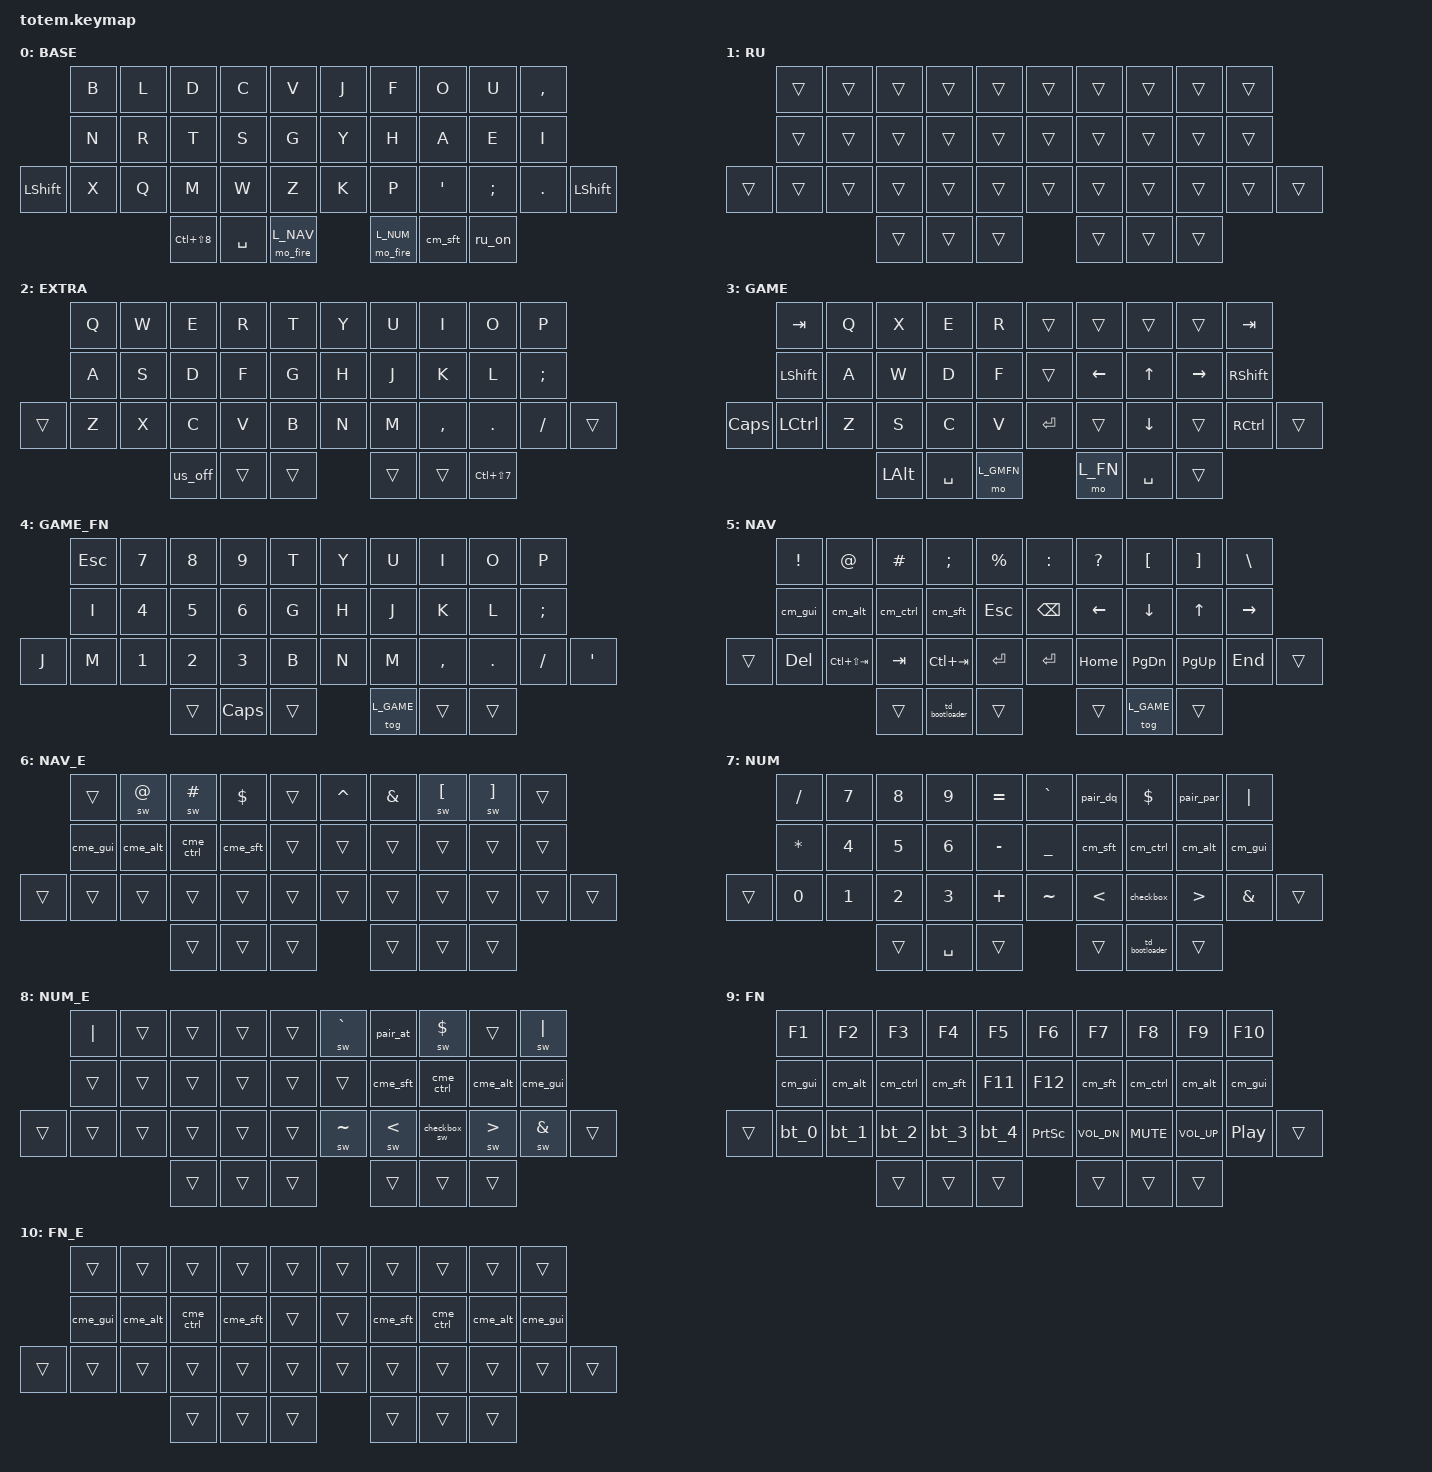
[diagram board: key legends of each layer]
//
//                                                        ▀▀▀▀▀     ▀▀▀▀▀          ▀▀█▀▀
//                                                        ▄▀▀▀▄  ▄  ▄▀▀▀▄  ▄  ▄▀▀▀▄  █  ▄▀▀▀▄
//                                                        █   █  █  █   █  █  █   █  █  █   █
//                                                         ▀▀▀   █   ▀▀▀   █   ▀▀▀   ▀   ▀▀▀
//                                                               █      ▄▄▄█▄▄▄    █   █  
//                                                               ▀      █  █  █     █▄█
//                                                             ▀▀▀▀▀    █  █  █      ▀
//                                                                      ▀  ▀  ▀
//
// ▄▄▄▄▄▄▄▄▄▄▄▄▄▄▄▄▄▄▄▄▄▄▄▄▄▄▄▄▄▄▄▄▄▄▄▄▄▄▄▄▄▄▄▄▄▄▄▄▄▄▄▄▄▄▄▄▄▄▄▄▄▄▄▄▄▄▄▄▄▄▄▄▄▄▄▄▄▄▄▄▄▄▄▄▄▄▄▄▄▄▄▄▄▄▄▄▄▄▄▄▄▄▄▄▄▄▄▄▄▄▄▄▄▄▄▄▄▄▄▄▄▄▄▄▄▄▄▄▄▄▄▄▄▄▄▄▄▄▄▄▄▄▄▄▄▄▄▄▄

#include <behaviors.dtsi>
#include <dt-bindings/zmk/bt.h>
#include <dt-bindings/zmk/keys.h>

// Layer indices (order matters: *_E layers must sit above their base layers)

#define L_BASE 0
#define L_RU 1      // marker: "RU mode is on" (all &trans); *_E layers hang off it
#define L_EXTRA 2   // RU letters (QWERTY positions)
#define L_GAME 3
#define L_GMFN 4
#define L_NAV 5
#define L_NAV_E 6
#define L_NUM 7
#define L_NUM_E 8
#define L_FN 9
#define L_FN_E 10

// Sticky mods (wellum-style, see cm_* / cme_* below) stay pressed "forever"
// (~50 days) until: the next key, a second tap of the same mod, or any &mo_fire.
#define MAX_TIMER 4294967295

/ {
    combos {
        compatible = "zmk,combos";

        // ---- BASE only ----

        base_us {
            timeout-ms = <40>;
            require-prior-idle-ms = <150>;
            key-positions = <1 3>;
            layers = <L_BASE>;
            bindings = <&kp LC(LS(N8))>;
        };

        base_ru {
            timeout-ms = <40>;
            require-prior-idle-ms = <150>;
            key-positions = <6 8>;
            layers = <L_BASE>;
            bindings = <&ru_on>;
        };

        // ---- EXTRA only ----

        extra_us {
            timeout-ms = <40>;
            require-prior-idle-ms = <150>;
            key-positions = <1 3>;
            layers = <L_EXTRA>;
            bindings = <&us_off>;
        };

        extra_ru {
            timeout-ms = <40>;
            require-prior-idle-ms = <150>;
            key-positions = <6 8>;
            layers = <L_EXTRA>;
            bindings = <&kp LC(LS(N7))>;
        };

        extra_lbkt {
            timeout-ms = <40>;
            require-prior-idle-ms = <150>;
            key-positions = <6 7>;
            layers = <L_EXTRA>;
            bindings = <&kp LBKT>;
        };

        extra_sqt {
            timeout-ms = <40>;
            require-prior-idle-ms = <150>;
            key-positions = <7 8>;
            layers = <L_EXTRA>;
            bindings = <&kp SQT>;
        };

        extra_rbkt {
            timeout-ms = <40>;
            require-prior-idle-ms = <150>;
            key-positions = <27 28>;
            layers = <L_EXTRA>;
            bindings = <&kp RBKT>;
        };

        extra_grave {
            timeout-ms = <40>;
            require-prior-idle-ms = <150>;
            key-positions = <28 29>;
            layers = <L_EXTRA>;
            bindings = <&kp GRAVE>;
        };
    };

    macros {
        bt_clear_2: bt_clear_2 {
            compatible = "zmk,behavior-macro";
            #binding-cells = <0>;
            bindings = <&bt BT_SEL 2 &bt BT_CLR>;
            label = "BT_CLEAR_2";
        };

        bt_clear_3: bt_clear_3 {
            compatible = "zmk,behavior-macro";
            #binding-cells = <0>;
            bindings = <&bt BT_SEL 3 &bt BT_CLR>;
            label = "BT_CLEAR_3";
        };

        bt_clear_4: bt_clear_4 {
            compatible = "zmk,behavior-macro";
            #binding-cells = <0>;
            bindings = <&bt BT_SEL 4 &bt BT_CLR>;
            label = "BT_CLEAR_4";
        };

        bt_clear_0: bt_clear_0 {
            compatible = "zmk,behavior-macro";
            #binding-cells = <0>;
            bindings = <&bt BT_SEL 0 &bt BT_CLR>;
            label = "BT_CLEAR_0";
        };

        bt_clear_1: bt_clear_1 {
            compatible = "zmk,behavior-macro";
            #binding-cells = <0>;
            bindings = <&bt BT_SEL 1 &bt BT_CLR>;
            label = "BT_CLEAR_1";
        };

        // ---------------------------------------------------------------------
        // Layout switching (OS hotkeys: ctrl+shift+8 = US, ctrl+shift+7 = RU)
        // ---------------------------------------------------------------------
        // ru_on: switch OS to RU and enable EXTRA (used on BASE)

        ru_on: ru_on {
            compatible = "zmk,behavior-macro";
            #binding-cells = <0>;
            display-name = "RU_ON";
            wait-ms = <30>;
            tap-ms = <20>;
            bindings = <&macro_tap>, <&kp LC(LS(N7)) &lock_on L_RU &lock_on L_EXTRA>;
        };

        // us_off: switch OS to US and disable EXTRA (used on EXTRA)

        us_off: us_off {
            compatible = "zmk,behavior-macro";
            #binding-cells = <0>;
            display-name = "US_OFF";
            wait-ms = <30>;
            tap-ms = <20>;
            bindings = <&macro_tap>, <&kp LC(LS(N8)) &lock_off L_EXTRA &lock_off L_RU>;
        };

        // sw: "switch to US, type one symbol, switch back to RU" (the sw# / sw@ / ... keys)

        sw: sw {
            compatible = "zmk,behavior-macro-one-param";
            #binding-cells = <1>;
            display-name = "SW";
            wait-ms = <40>;   // give the OS time to switch the layout
            tap-ms = <20>;
            bindings =
                <&macro_tap>,
                <&kp LC(LS(N8))>,
                <&macro_param_1to1>,
                <&kp MACRO_PLACEHOLDER &kp LC(LS(N7))>;
        };

        // ---------------------------------------------------------------------
        // Pairs: type both symbols, then arrow left
        // ---------------------------------------------------------------------

        pair_par: pair_par {
            compatible = "zmk,behavior-macro";
            #binding-cells = <0>;
            display-name = "PAIR_PAR";
            bindings = <&macro_tap>, <&kp LPAR &kp RPAR &kp LEFT>;
        };

        pair_dq: pair_dq {
            compatible = "zmk,behavior-macro";
            #binding-cells = <0>;
            display-name = "PAIR_DQ";
            bindings = <&macro_tap>, <&kp DQT &kp DQT &kp LEFT>;
        };

        // "@@": in the RU layout shift+2 types a double quote, so this makes ""

        pair_at: pair_at {
            compatible = "zmk,behavior-macro";
            #binding-cells = <0>;
            display-name = "PAIR_AT";
            bindings = <&macro_tap>, <&kp AT &kp AT &kp LEFT>;
        };

        // ---------------------------------------------------------------------
        // Markdown checkbox: home, -, space, [, space, ], space, end
        // ---------------------------------------------------------------------

        checkbox: checkbox {
            compatible = "zmk,behavior-macro";
            #binding-cells = <0>;
            display-name = "CHECKBOX";
            bindings =
                <&macro_tap>,
                <&kp HOME &kp MINUS &kp SPACE &kp LBKT &kp SPACE &kp RBKT &kp SPACE &kp END>;
        };

        // "sw" flavour for the EXTRA (RU) layers: [ and ] need the US layout

        checkbox_sw: checkbox_sw {
            compatible = "zmk,behavior-macro";
            #binding-cells = <0>;
            display-name = "CHECKBOX_SW";
            wait-ms = <40>;
            tap-ms = <20>;
            bindings =
                <&macro_tap>,
                <&kp LC(LS(N8)) &kp HOME &kp MINUS &kp SPACE &kp LBKT &kp SPACE &kp RBKT &kp SPACE &kp END &kp LC(LS(N7))>;
        };

        // ---------------------------------------------------------------------
        // Sticky mods, taken from wellum (firmware/zmk/wellum34)
        // ---------------------------------------------------------------------

        // release the key twice (it is pressed twice, see below)
        m_release_key_twice: m_release_key_twice {
            compatible = "zmk,behavior-macro-one-param";
            #binding-cells = <1>;
            display-name = "REL_TWICE";
            wait-ms = <0>;
            tap-ms = <0>;
            bindings =
                <&macro_release>,
                <&macro_param_1to1>,
                <&kp MACRO_PLACEHOLDER>,
                <&macro_param_1to1>,
                <&kp MACRO_PLACEHOLDER>;
        };

        // inner binding of sticky_forever: press twice, release twice when the sticky fires
        m_press_key_twice: m_press_key_twice {
            compatible = "zmk,behavior-macro-one-param";
            #binding-cells = <1>;
            display-name = "PRESS_TWICE";
            wait-ms = <0>;
            tap-ms = <0>;
            bindings =
                <&macro_press>,
                <&macro_param_1to1>,
                <&kp MACRO_PLACEHOLDER>,
                <&macro_param_1to1>,
                <&kp MACRO_PLACEHOLDER>,
                <&macro_pause_for_release>,
                <&macro_tap>,
                <&macro_param_1to1>,
                <&m_release_key_twice MACRO_PLACEHOLDER>;
        };

        // ---------------------------------------------------------------------
        // *_e flavour: same, but while the mod is pending the RU letters layer
        // (EXTRA) is switched off, so the next key is read from BASE (shortcuts sit
        // on the same keys in EN and RU). EXTRA returns when the sticky fires
        // (next key / second tap / mo_fire) or is cancelled.
        // ---------------------------------------------------------------------

        m_press_key_twice_e: m_press_key_twice_e {
            compatible = "zmk,behavior-macro-one-param";
            #binding-cells = <1>;
            display-name = "PRESS_TWICE_E";
            wait-ms = <0>;
            tap-ms = <0>;
            bindings =
                <&macro_press>,
                <&macro_param_1to1>,
                <&kp MACRO_PLACEHOLDER>,
                <&macro_param_1to1>,
                <&kp MACRO_PLACEHOLDER>,
                <&macro_tap>,
                <&lock_off L_EXTRA>,
                <&macro_pause_for_release>,
                <&macro_tap>,
                <&macro_param_1to1>,
                <&m_release_key_twice MACRO_PLACEHOLDER>,
                <&macro_tap>,
                <&lock_on L_EXTRA>;
        };

        // second tap of a pending *_e mod: release it and bring EXTRA back
        m_cancel_e: m_cancel_e {
            compatible = "zmk,behavior-macro-one-param";
            #binding-cells = <1>;
            display-name = "CANCEL_E";
            wait-ms = <0>;
            tap-ms = <0>;
            bindings =
                <&macro_tap>,
                <&macro_param_1to1>,
                <&m_release_key_twice MACRO_PLACEHOLDER>,
                <&macro_tap>,
                <&lock_on L_EXTRA>;
        };

        // ---------------------------------------------------------------------
        // Layer key for the BASE thumbs (wellum "la"): on press it fires all pending
        // sticky mods with a dummy keycode (a lone mod gets tapped, *_e mods give
        // EXTRA back), then holds the layer. Unlike wellum it does NOT force-release
        // mods on layer release, so a mod set on NAV/NUM can still hit a key on BASE.
        // ---------------------------------------------------------------------

        mo_fire: mo_fire {
            compatible = "zmk,behavior-macro-one-param";
            #binding-cells = <1>;
            display-name = "MO_FIRE";
            wait-ms = <0>;
            tap-ms = <0>;
            bindings =
                <&macro_tap>,
                <&kp 0>,
                <&macro_press>,
                <&macro_param_1to1>,
                <&mo MACRO_PLACEHOLDER>,
                <&macro_pause_for_release>,
                <&macro_release>,
                <&macro_param_1to1>,
                <&mo MACRO_PLACEHOLDER>;
        };
    };

    behaviors {
        td_bootloader: td_bootloader {
            compatible = "zmk,behavior-tap-dance";
            label = "TD_BOOTLOADER";
            #binding-cells = <0>;
            bindings = <&none>, <&bootloader>;
        };

        bt_0: bt_0 {
            compatible = "zmk,behavior-mod-morph";
            label = "BT_0";
            bindings = <&bt BT_SEL 0>, <&bt_clear_0>;

            #binding-cells = <0>;
            mods = <(MOD_LSFT)>;
        };

        bt_1: bt_1 {
            compatible = "zmk,behavior-mod-morph";
            label = "BT_1";
            bindings = <&bt BT_SEL 1>, <&bt_clear_1>;

            #binding-cells = <0>;
            mods = <(MOD_LSFT)>;
        };

        bt_2: bt_2 {
            compatible = "zmk,behavior-mod-morph";
            label = "BT_2";
            bindings = <&bt BT_SEL 2>, <&bt_clear_2>;

            #binding-cells = <0>;
            mods = <(MOD_LSFT)>;
        };

        bt_3: bt_3 {
            compatible = "zmk,behavior-mod-morph";
            label = "BT_3";
            bindings = <&bt BT_SEL 3>, <&bt_clear_3>;

            #binding-cells = <0>;
            mods = <(MOD_LSFT)>;
        };

        bt_4: bt_4 {
            compatible = "zmk,behavior-mod-morph";
            label = "BT_4";
            bindings = <&bt BT_SEL 4>, <&bt_clear_4>;

            #binding-cells = <0>;
            mods = <(MOD_LSFT)>;
        };

        // Locking layer on/off. &tog is "locking" in ZMK, so a normal (non-locking)
        // layer_off cannot switch off a layer that was enabled with &tog.

        lock_on: lock_on {
            compatible = "zmk,behavior-toggle-layer";
            #binding-cells = <1>;
            display-name = "LOCK_ON";
            toggle-mode = "on";
            locking;
        };

        lock_off: lock_off {
            compatible = "zmk,behavior-toggle-layer";
            #binding-cells = <1>;
            display-name = "LOCK_OFF";
            toggle-mode = "off";
            locking;
        };

        // ---------------------------------------------------------------------
        // Sticky mods (wellum): sticky_forever + mod-morph "second tap releases"
        // ---------------------------------------------------------------------

        sticky_forever: sticky_forever {
            compatible = "zmk,behavior-sticky-key";
            #binding-cells = <1>;
            display-name = "STICKY_FOREVER";
            bindings = <&m_press_key_twice>;
            release-after-ms = <MAX_TIMER>;
            ignore-modifiers;
        };

        sticky_forever_e: sticky_forever_e {
            compatible = "zmk,behavior-sticky-key";
            #binding-cells = <1>;
            display-name = "STICKY_FOREVER_E";
            bindings = <&m_press_key_twice_e>;
            release-after-ms = <MAX_TIMER>;
            ignore-modifiers;
        };

        cm_gui: cm_gui {
            compatible = "zmk,behavior-mod-morph";
            #binding-cells = <0>;
            display-name = "CM_GUI";
            bindings = <&sticky_forever LGUI>, <&m_release_key_twice LGUI>;
            mods = <(MOD_LGUI)>;
            keep-mods = <(MOD_LGUI)>;
        };

        cme_gui: cme_gui {
            compatible = "zmk,behavior-mod-morph";
            #binding-cells = <0>;
            display-name = "CME_GUI";
            bindings = <&sticky_forever_e LGUI>, <&m_cancel_e LGUI>;
            mods = <(MOD_LGUI)>;
            keep-mods = <(MOD_LGUI)>;
        };

        cm_alt: cm_alt {
            compatible = "zmk,behavior-mod-morph";
            #binding-cells = <0>;
            display-name = "CM_ALT";
            bindings = <&sticky_forever LALT>, <&m_release_key_twice LALT>;
            mods = <(MOD_LALT)>;
            keep-mods = <(MOD_LALT)>;
        };

        cme_alt: cme_alt {
            compatible = "zmk,behavior-mod-morph";
            #binding-cells = <0>;
            display-name = "CME_ALT";
            bindings = <&sticky_forever_e LALT>, <&m_cancel_e LALT>;
            mods = <(MOD_LALT)>;
            keep-mods = <(MOD_LALT)>;
        };

        cm_ctrl: cm_ctrl {
            compatible = "zmk,behavior-mod-morph";
            #binding-cells = <0>;
            display-name = "CM_CTRL";
            bindings = <&sticky_forever LCTRL>, <&m_release_key_twice LCTRL>;
            mods = <(MOD_LCTL)>;
            keep-mods = <(MOD_LCTL)>;
        };

        cme_ctrl: cme_ctrl {
            compatible = "zmk,behavior-mod-morph";
            #binding-cells = <0>;
            display-name = "CME_CTRL";
            bindings = <&sticky_forever_e LCTRL>, <&m_cancel_e LCTRL>;
            mods = <(MOD_LCTL)>;
            keep-mods = <(MOD_LCTL)>;
        };

        cm_sft: cm_sft {
            compatible = "zmk,behavior-mod-morph";
            #binding-cells = <0>;
            display-name = "CM_SFT";
            bindings = <&sticky_forever LSHIFT>, <&m_release_key_twice LSHIFT>;
            mods = <(MOD_LSFT)>;
            keep-mods = <(MOD_LSFT)>;
        };

        cme_sft: cme_sft {
            compatible = "zmk,behavior-mod-morph";
            #binding-cells = <0>;
            display-name = "CME_SFT";
            bindings = <&sticky_forever_e LSHIFT>, <&m_cancel_e LSHIFT>;
            mods = <(MOD_LSFT)>;
            keep-mods = <(MOD_LSFT)>;
        };
    };

    keymap {
        compatible = "zmk,keymap";

        // Gallium-like letters. Extra keys (outer shifts, ESC, DEL) keep their previous values.

        base_layer {
            label = "BASE";
            bindings = <
           &kp B  &kp L  &kp D           &kp C      &kp V        &kp J      &kp F      &kp O    &kp U     &kp COMMA
           &kp N  &kp R  &kp T           &kp S      &kp G        &kp Y      &kp H      &kp A    &kp E     &kp I
&kp LSHFT  &kp X  &kp Q  &kp M           &kp W      &kp Z        &kp K      &kp P      &kp SQT  &kp SEMI  &kp DOT    &kp LSHFT
                         &kp LC(LS(N8))  &kp SPACE  &mo_fire L_NAV    &mo_fire L_NUM  &cm_sft  &ru_on
            >;
        };

        // Marker: "RU mode is on". The *_E layers hang off this layer (not off EXTRA),
        // so they stay active while EXTRA's letters are suspended by a pending cme_* mod.
        ru_layer {
            label = "RU";
            bindings = <
                &trans &trans &trans &trans &trans  &trans &trans &trans &trans &trans
                &trans &trans &trans &trans &trans  &trans &trans &trans &trans &trans
                &trans &trans &trans &trans &trans &trans  &trans &trans &trans &trans &trans &trans
                              &trans &trans &trans  &trans &trans &trans
            >;
        };

        // QWERTY positions for the RU OS layout. Toggled by combos. Blanks fall through to BASE.

        extra_layer {
            label = "EXTRA";
            bindings = <
        &kp Q  &kp W  &kp E    &kp R   &kp T     &kp Y   &kp U   &kp I           &kp O    &kp P
        &kp A  &kp S  &kp D    &kp F   &kp G     &kp H   &kp J   &kp K           &kp L    &kp SEMI
&trans  &kp Z  &kp X  &kp C    &kp V   &kp B     &kp N   &kp M   &kp COMMA       &kp DOT  &kp FSLH  &trans
                      &us_off  &trans  &trans    &trans  &trans  &kp LC(LS(N7))
            >;
        };

        // Plain-hold mods (&kp, not sticky) on purpose. Enter: nav -> game*. Exit: gmfn -> base*.

        game_layer {
            label = "GAME";
            bindings = <
          &kp TAB    &kp Q  &kp X     &kp E      &kp R         &trans    &trans     &trans    &trans     &kp TAB
          &kp LSHFT  &kp A  &kp W     &kp D      &kp F         &trans    &kp LEFT   &kp UP    &kp RIGHT  &kp RSHFT
&kp CAPS  &kp LCTRL  &kp Z  &kp S     &kp C      &kp V         &kp RET   &trans     &kp DOWN  &trans     &kp RCTRL  &trans
                            &kp LALT  &kp SPACE  &mo L_GMFN    &mo L_FN  &kp SPACE  &trans
            >;
        };

        // Held from the GAME layer (left inner thumb).

        game_fn_layer {
            label = "GAME_FN";
            bindings = <
       &kp ESC  &kp N7  &kp N8  &kp N9    &kp T     &kp Y   &kp U   &kp I      &kp O    &kp P
       &kp I    &kp N4  &kp N5  &kp N6    &kp G     &kp H   &kp J   &kp K      &kp L    &kp SEMI
&kp J  &kp M    &kp N1  &kp N2  &kp N3    &kp B     &kp N   &kp M   &kp COMMA  &kp DOT  &kp FSLH  &kp SQT
                        &trans  &kp CAPS  &trans    &tog L_GAME  &trans  &trans
            >;
        };

        // Left inner thumb. Mods are cm_* (wellum-style sticky).

        nav_layer {
            label = "NAV";
            bindings = <
        &kp EXCL  &kp AT           &kp HASH   &kp SEMI        &kp PRCNT    &kp COLON  &kp QMARK    &kp LBKT   &kp RBKT   &kp BSLH
        &cm_gui  &cm_alt         &cm_ctrl  &cm_sft       &kp ESC      &kp BSPC   &kp LEFT     &kp DOWN   &kp UP     &kp RIGHT
&trans  &kp DEL   &kp LC(LS(TAB))  &kp TAB    &kp LC(TAB)     &kp RET      &kp RET    &kp HOME     &kp PG_DN  &kp PG_UP  &kp END    &trans
                                   &trans     &td_bootloader  &trans       &trans     &tog L_GAME  &trans
            >;
        };

        // Auto-active when EXTRA + NAV. Only overrides symbols that differ in the RU layout, plus cme_* mods.

        nav_extra_layer {
            label = "NAV_E";
            bindings = <
        &trans      &sw AT      &sw HASH     &kp DLLR     &trans    &kp CARET  &kp AMPS  &sw LBKT  &sw RBKT  &trans
        &cme_gui  &cme_alt  &cme_ctrl  &cme_sft  &trans    &trans     &trans    &trans    &trans    &trans
&trans  &trans      &trans      &trans       &trans       &trans    &trans     &trans    &trans    &trans    &trans  &trans
                                &trans       &trans       &trans    &trans     &trans    &trans
            >;
        };

        // Right inner thumb. Mods are cm_* (wellum-style sticky).

        num_layer {
            label = "NUM";
            bindings = <
        &kp FSLH  &kp N7  &kp N8  &kp N9     &kp EQUAL    &kp GRAVE  &pair_dq        &kp DLLR   &pair_par  &kp PIPE
        &kp STAR  &kp N4  &kp N5  &kp N6     &kp MINUS    &kp UNDER  &cm_sft       &cm_ctrl  &cm_alt   &cm_gui
&trans  &kp N0    &kp N1  &kp N2  &kp N3     &kp PLUS     &kp TILDE  &kp LT          &checkbox  &kp GT     &kp AMPS  &trans
                          &trans  &kp SPACE  &trans       &trans     &td_bootloader  &trans
            >;
        };

        // Auto-active when EXTRA + NUM. "sw*" = switch to US, type, switch back to RU.

        num_extra_layer {
            label = "NUM_E";
            bindings = <
        &kp PIPE  &trans  &trans  &trans  &trans    &sw GRAVE  &pair_at     &sw DLLR      &trans      &sw PIPE
        &trans    &trans  &trans  &trans  &trans    &trans     &cme_sft  &cme_ctrl   &cme_alt  &cme_gui
&trans  &trans    &trans  &trans  &trans  &trans    &sw TILDE  &sw LT       &checkbox_sw  &sw GT      &sw AMPS    &trans
                          &trans  &trans  &trans    &trans     &trans       &trans
            >;
        };

        // nav + num (hold one, press &mo fn on the other). Bluetooth: tap = select, with shift = clear.

        fn_layer {
            label = "FN";
            bindings = <
        &kp F1    &kp F2    &kp F3     &kp F4     &kp F5     &kp F6     &kp F7        &kp F8      &kp F9        &kp F10
        &cm_gui  &cm_alt  &cm_ctrl  &cm_sft  &kp F11    &kp F12    &cm_sft     &cm_ctrl   &cm_alt      &cm_gui
&trans  &bt_0     &bt_1     &bt_2      &bt_3      &bt_4      &kp PSCRN  &kp C_VOL_DN  &kp C_MUTE  &kp C_VOL_UP  &kp C_PP  &trans
                            &trans     &trans     &trans     &trans     &trans        &trans
            >;
        };

        // Auto-active when EXTRA + FN. Only the mods differ (cme_*).

        fn_extra_layer {
            label = "FN_E";
            bindings = <
        &trans      &trans      &trans       &trans       &trans    &trans  &trans       &trans       &trans      &trans
        &cme_gui  &cme_alt  &cme_ctrl  &cme_sft  &trans    &trans  &cme_sft  &cme_ctrl  &cme_alt  &cme_gui
&trans  &trans      &trans      &trans       &trans       &trans    &trans  &trans       &trans       &trans      &trans      &trans
                                &trans       &trans       &trans    &trans  &trans       &trans
            >;
        };
    };

    conditional_layers {
        compatible = "zmk,conditional-layers";

        nav_for_extra {
            if-layers = <L_RU L_NAV>;
            then-layer = <L_NAV_E>;
        };

        num_for_extra {
            if-layers = <L_RU L_NUM>;
            then-layer = <L_NUM_E>;
        };

        fn_for_extra {
            if-layers = <L_RU L_FN>;
            then-layer = <L_FN_E>;
        };

        fn_layer {
            if-layers = <4 6>;
            then-layer = <8>;
        };
    };
};
